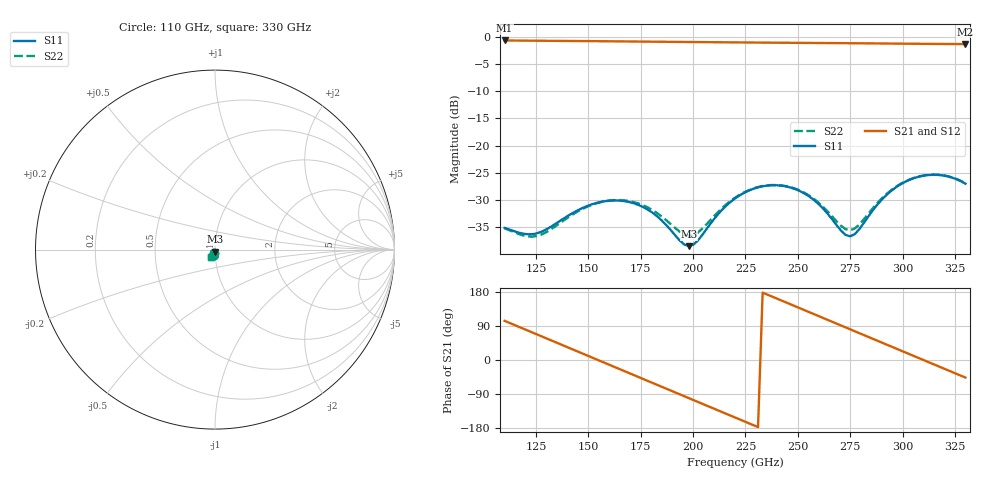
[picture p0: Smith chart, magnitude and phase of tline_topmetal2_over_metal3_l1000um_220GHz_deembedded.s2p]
! Created with skrf 2.2.0 (http://scikit-rf.org).
# GHz S DB R 50.0
! Port[1] = P1
! Port[2] = P2
!freq dBS11 angS11 dBS21 angS21 dBS12 angS12 dBS22 angS22
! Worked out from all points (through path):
!   101 points, 110 GHz to 330 GHz, reference 50 ohm
!   highest |S21| = -0.71 dB at 110 GHz (marker M1); lowest = -1.4 dB at 330 GHz (marker M2)
!   group delay of S21, straight-line fit = 6.44 ps
!   lowest |S11| = -38.4 dB at 198 GHz (marker M3), VSWR 1.02, Z = 49.9 - j1.19 ohm
!   |S11| at or under -10 dB: start of sweep to end of sweep
!   |S22| runs from -36.7 to -25.3 dB; largest |S21 - S12| = 1e-13
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110  -35.08 -99.4  -0.71 103.3  -0.71 103.3  -35.16 -99.8
118.8  -36.15 -94.5  -0.74 82.9  -0.74 82.9  -36.47 -94.8
127.6  -35.80 -82.2  -0.77 62.5  -0.77 62.5  -36.31 -80.6
138.6  -33.27 -76.2  -0.80 37.0  -0.80 37.0  -33.62 -72.3
147.4  -31.41 -81.6  -0.82 16.6  -0.82 16.6  -31.58 -77.1
156.2  -30.31 -91.6  -0.85 -3.8  -0.85 -3.8  -30.34 -86.7
165  -30.09 -103.6  -0.88 -24.2  -0.88 -24.2  -29.99 -98.2
176  -31.24 -117.8  -0.92 -49.7  -0.92 -49.7  -30.92 -111.5
184.8  -33.64 -124.3  -0.95 -70.1  -0.95 -70.1  -32.94 -117.1
198  -38.44 -94.9  -0.99 -100.7  -0.99 -100.7  -36.54 -94.5
209  -33.95 -62.7  -1.03 -126.2  -1.03 -126.2  -33.34 -67.8
220  -29.69 -69.0  -1.06 -151.6  -1.06 -151.6  -29.55 -71.5
228.8  -27.91 -81.5  -1.09 -172.0  -1.09 -172.0  -27.85 -82.5
237.6  -27.27 -95.6  -1.12 167.6  -1.12 167.6  -27.22 -95.6
246.4  -27.67 -109.6  -1.14 147.2  -1.14 147.2  -27.61 -108.7
257.4  -29.88 -123.5  -1.17 121.8  -1.17 121.8  -29.70 -121.2
266.2  -33.43 -124.2  -1.19 101.4  -1.19 101.4  -32.91 -120.7
275  -36.64 -93.3  -1.22 81.0  -1.22 81.0  -35.52 -93.5
283.8  -32.92 -63.1  -1.25 60.6  -1.25 60.6  -32.43 -66.7
294.8  -28.23 -66.2  -1.28 35.1  -1.28 35.1  -28.10 -68.3
312.4  -25.39 -92.0  -1.33 -5.6  -1.33 -5.6  -25.36 -92.5
330  -26.98 -118.9  -1.38 -46.4  -1.38 -46.4  -26.91 -117.9
